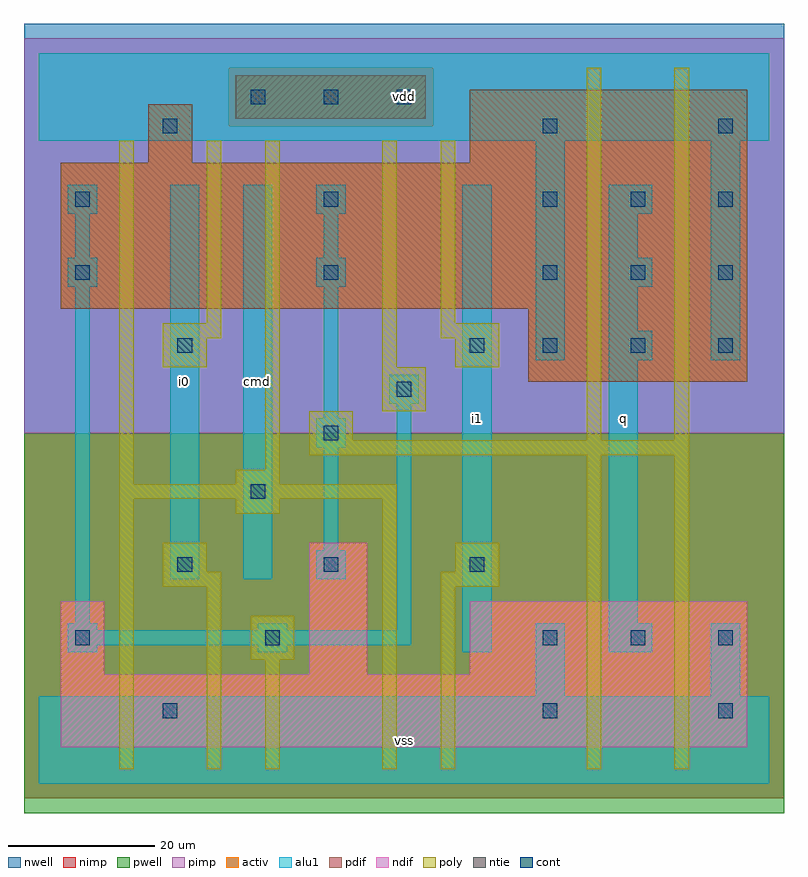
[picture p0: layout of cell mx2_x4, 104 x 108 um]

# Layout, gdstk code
import gdstk
lib = gdstk.Library(unit=1e-6, precision=1e-09)
def R(c, l, rs):  # rectangles x0, y0, x1, y1
    for r in rs: c.add(gdstk.rectangle(r[:2], r[2:], *l))
def A(c, l, x, y, w, h, nx, ny, dx, dy):  # array of equal rectangles
    R(c, l, [(x+i*dx, y+j*dy, x+i*dx+w, y+j*dy+h) for i in range(nx) for j in range(ny)])
ndif = (3, 0)
pdif = (4, 0)
ntie = (5, 0)
cont = (25, 0)
pwell = (41, 0)
nwell = (42, 0)
activ = (43, 0)
pimp = (44, 0)
nimp = (45, 0)
poly = (46, 0)
alu1 = (49, 0)

mx2_x4 = lib.new_cell('mx2_x4')
R(mx2_x4, ndif, [(3,5,97,15), (3,15,9,25), (37,15,45,33), (59,15,97,25)])
R(mx2_x4, pdif, [(67,55,97,65), (3,65,97,85), (15,85,21,93), (59,85,97,95)])
R(mx2_x4, ntie, [(27,91,53,97)])
A(mx2_x4, cont, 69, 19, 2, 2, 3, 2, 12, 40)
A(mx2_x4, cont, 19, 29, 2, 2, 3, 1, 20, 0)
A(mx2_x4, cont, 69, 69, 2, 2, 3, 2, 12, 10)
A(mx2_x4, cont, 29, 93, 2, 2, 3, 1, 10, 0)
R(mx2_x4, cont, [(17,9,19,11), (69,9,71,11), (93,9,95,11), (5,19,7,21), (31,19,33,21), (29,39,31,41), (39,47,41,49), (49,53,51,55), (19,59,21,61), (59,59,61,61), (5,69,7,71), (39,69,41,71), (5,79,7,81), (39,79,41,81), (17,89,19,91), (69,89,71,91), (93,89,95,91)])
R(mx2_x4, pwell, [(-2,-4,102,48)])
R(mx2_x4, nwell, [(-2,48,102,104)])
R(mx2_x4, activ, [(3,5,97,15), (3,15,9,25), (37,15,45,33), (59,15,97,25), (67,55,97,65), (3,65,97,85), (15,85,21,93), (59,85,97,95), (27,91,53,97)])
R(mx2_x4, pimp, [(-2,48,102,90), (-2,90,26,98), (54,90,102,98), (-2,98,102,102)])
R(mx2_x4, nimp, [(-2,-2,102,48), (26,90,54,98)])
R(mx2_x4, poly, [(11,2,13,39), (23,2,25,27), (31,2,33,17), (47,2,49,39), (55,2,57,27), (75,2,77,45), (87,2,89,45), (29,17,35,23), (17,27,25,29), (55,27,63,29), (17,29,23,33), (57,29,63,33), (27,37,33,39), (11,39,49,41), (11,41,13,88), (27,41,33,43), (31,43,33,88), (37,45,89,47), (37,47,43,51), (75,47,77,98), (87,47,89,98), (47,51,53,57), (17,57,23,61), (47,57,49,88), (57,57,63,61), (17,61,25,63), (55,61,63,63), (23,63,25,88), (55,63,57,88)])
A(mx2_x4, alu1, 78, 58, 6, 4, 1, 3, 0, 10)
R(mx2_x4, alu1, [(0,0,100,12), (68,12,72,22), (92,12,96,22), (4,18,8,19), (30,18,34,19), (58,18,62,82), (78,18,84,22), (4,19,51,21), (4,21,8,22), (30,21,34,22), (49,21,51,52), (5,22,7,68), (78,22,82,58), (18,28,22,82), (28,28,32,82), (38,28,42,32), (39,32,41,46), (38,46,42,50), (39,50,41,68), (48,52,52,56), (68,58,72,88), (92,58,96,88), (78,62,82,68), (4,68,8,72), (38,68,42,72), (5,72,7,78), (39,72,41,78), (78,72,82,78), (4,78,8,82), (38,78,42,82), (0,88,100,100)])
mx2_x4.add(gdstk.Label('i0', (20,55), layer=49, texttype=0))
mx2_x4.add(gdstk.Label('cmd', (30,55), layer=49, texttype=0))
mx2_x4.add(gdstk.Label('vss', (50,6), layer=49, texttype=0))
mx2_x4.add(gdstk.Label('i1', (60,50), layer=49, texttype=0))
mx2_x4.add(gdstk.Label('vdd', (50,94), layer=49, texttype=0))
mx2_x4.add(gdstk.Label('q', (80,50), layer=49, texttype=0))

lib.write_gds('mx2_x4.gds')
